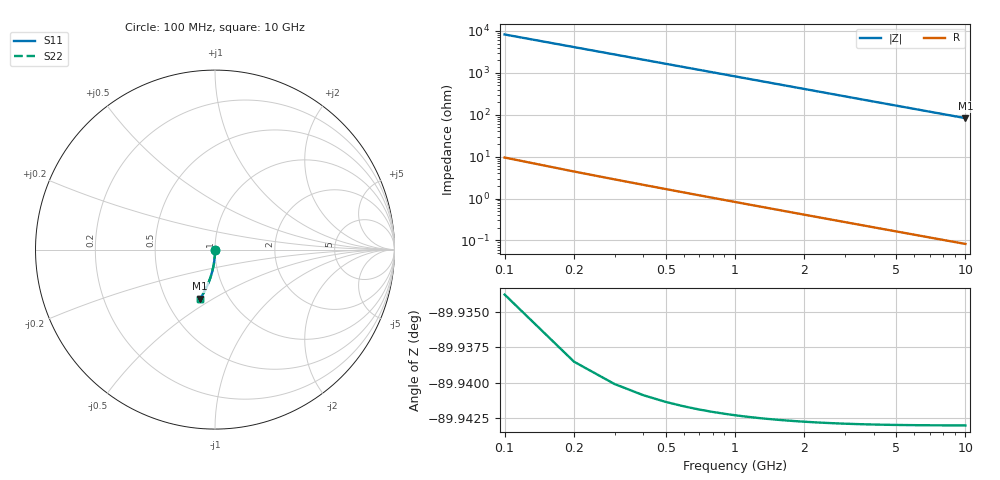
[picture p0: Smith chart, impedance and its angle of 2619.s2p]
# Hz S RI R 50.00
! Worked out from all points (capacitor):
!   100 points, 100 MHz to 10 GHz, reference 50 ohm
!   read as one part in shunt: C = 193 fF near 100 MHz
!   lowest |Z| = 83.2 ohm at 10 GHz (marker M1)
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1e8  -8.36e-06 -0.00301  1 -0.00305  1 -0.00305  -8.36e-06 -0.00301
2e8  -3.89e-05 -0.00602  1 -0.0061  1 -0.0061  -3.89e-05 -0.00602
3e8  -8.78e-05 -0.00902  0.9999 -0.00915  0.9999 -0.00915  -8.78e-05 -0.00902
4e8  -0.000155 -0.012  0.9998 -0.0122  0.9998 -0.0122  -0.000155 -0.012
5e8  -0.000241 -0.015  0.9998 -0.0153  0.9998 -0.0153  -0.000241 -0.015
6e8  -0.000344 -0.018  0.9996 -0.0183  0.9996 -0.0183  -0.000344 -0.018
7e8  -0.000467 -0.021  0.9995 -0.0214  0.9995 -0.0214  -0.000467 -0.021
8e8  -0.000607 -0.024  0.9994 -0.0244  0.9994 -0.0244  -0.000607 -0.024
9e8  -0.000766 -0.027  0.9992 -0.0274  0.9992 -0.0274  -0.000766 -0.027
1.1e9  -0.00114 -0.033  0.9989 -0.0335  0.9989 -0.0335  -0.00114 -0.033
1.4e9  -0.00183 -0.042  0.9982 -0.0426  0.9982 -0.0426  -0.00183 -0.042
1.8e9  -0.00301 -0.0539  0.997 -0.0547  0.997 -0.0547  -0.00301 -0.0539
2.1e9  -0.00408 -0.0628  0.9959 -0.0638  0.9959 -0.0638  -0.00408 -0.0628
2.5e9  -0.00576 -0.0747  0.9942 -0.0758  0.9942 -0.0758  -0.00576 -0.0747
2.9e9  -0.00772 -0.0864  0.9923 -0.0877  0.9923 -0.0877  -0.00772 -0.0864
3.4e9  -0.0106 -0.101  0.9894 -0.1025  0.9894 -0.1025  -0.0106 -0.101
4.2e9  -0.016 -0.1239  0.984 -0.1258  0.984 -0.1258  -0.016 -0.1239
5.1e9  -0.0233 -0.1492  0.9767 -0.1515  0.9767 -0.1515  -0.0233 -0.1492
5.9e9  -0.0309 -0.1712  0.9691 -0.1738  0.9691 -0.1738  -0.0309 -0.1712
6.7e9  -0.0394 -0.1925  0.9606 -0.1955  0.9606 -0.1955  -0.0394 -0.1925
8.4e9  -0.0603 -0.2357  0.9397 -0.2395  0.9397 -0.2395  -0.0603 -0.2357
1e10  -0.0832 -0.2734  0.9168 -0.2779  0.9168 -0.2779  -0.0832 -0.2734
